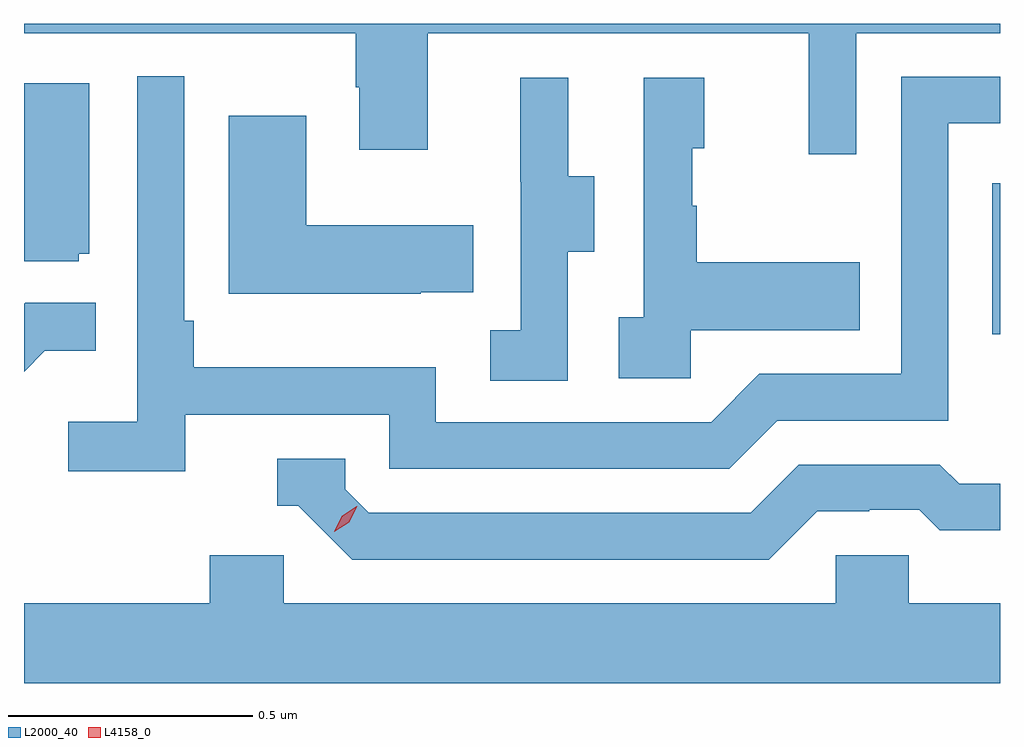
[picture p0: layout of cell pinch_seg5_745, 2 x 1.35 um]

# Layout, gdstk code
import gdstk
lib = gdstk.Library(unit=1e-6, precision=1e-09)
def R(c, l, rs):  # rectangles x0, y0, x1, y1
    for r in rs: c.add(gdstk.rectangle(r[:2], r[2:], *l))
def P(c, l, *ps):  # polygons
    for p in ps: c.add(gdstk.Polygon(p, *l))
L2000_40 = (2000, 40)
L4158_0 = (4158, 0)

pinch_seg5_745 = lib.new_cell('pinch_seg5_745')
R(pinch_seg5_745, L2000_40, [(871.314,896.103,871.33,896.412)])
P(pinch_seg5_745, L2000_40, [(871.035,896.72),(871.33,896.72),(871.33,896.739),(869.33,896.739),(869.33,896.72),(870.01,896.72),(870.01,896.609),(870.017,896.609),(870.017,896.481),(870.157,896.481),(870.157,896.72),(870.938,896.72),(870.938,896.472),(871.035,896.472)],
  [(869.66,895.938),(870.078,895.938),(870.078,895.827),(870.775,895.827),(870.874,895.926),(871.224,895.926),(871.224,896.535),(871.33,896.535),(871.33,896.631),(871.128,896.631),(871.128,896.022),(870.837,896.022),(870.738,895.923),(870.174,895.923),(870.174,896.035),(869.678,896.035),(869.678,896.131),(869.658,896.131),(869.658,896.632),(869.562,896.632),(869.562,895.924),(869.421,895.924),(869.421,895.822),(869.66,895.822)],
  [(870.696,896.111),(871.043,896.111),(871.043,896.251),(870.709,896.251),(870.709,896.366),(870.699,896.366),(870.699,896.484),(870.724,896.484),(870.724,896.629),(870.6,896.629),(870.6,896.138),(870.549,896.138),(870.549,896.013),(870.696,896.013)],
  [(870.444,896.272),(870.499,896.272),(870.499,896.427),(870.445,896.427),(870.445,896.629),(870.347,896.629),(870.347,896.415),(870.348,896.415),(870.348,896.111),(870.285,896.111),(870.285,896.008),(870.444,896.008)],
  [(869.442,896.268),(869.464,896.268),(869.464,896.617),(869.33,896.617),(869.33,896.253),(869.442,896.253)],
  [(870.143,896.189),(870.251,896.189),(870.251,896.326),(869.908,896.326),(869.908,896.551),(869.75,896.551),(869.75,896.186),(870.143,896.186)],
  [(869.373,896.069),(869.477,896.069),(869.477,896.168),(869.333,896.168),(869.33,896.165),(869.33,896.026)],
  [(870.955,895.74),(871.062,895.74),(871.062,895.743),(871.165,895.743),(871.207,895.701),(871.33,895.701),(871.33,895.797),(871.246,895.797),(871.207,895.836),(870.918,895.836),(870.819,895.737),(870.036,895.737),(869.988,895.785),(869.988,895.848),(869.849,895.848),(869.849,895.752),(869.892,895.752),(870.003,895.641),(870.856,895.641)],
  [(871.33,895.552),(871.143,895.552),(871.143,895.65),(870.993,895.65),(870.993,895.552),(869.862,895.552),(869.862,895.65),(869.711,895.65),(869.711,895.552),(869.33,895.552),(869.33,895.388),(871.33,895.388)])
P(pinch_seg5_745, L4158_0, [(869.966,895.698),(869.966,895.699),(869.982,895.731),(870.012,895.75),(870.013,895.75),(870.013,895.75),(869.997,895.718),(869.966,895.698)])

lib.write_gds('pinch_seg5_745.gds')
